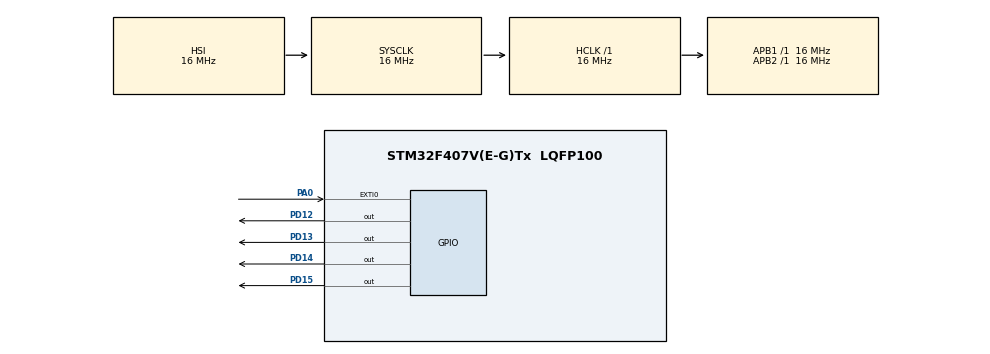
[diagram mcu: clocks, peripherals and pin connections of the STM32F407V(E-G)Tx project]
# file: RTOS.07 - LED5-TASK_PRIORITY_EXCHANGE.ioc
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Mcu.Family=STM32F4
Mcu.Name=STM32F407V(E-G)Tx
Mcu.Package=LQFP100
NVIC.EXTI0_IRQn=true\:6\:0\:true\:false\:true\:true\:true
NVIC.PriorityGroup=NVIC_PRIORITYGROUP_4
NVIC.TIM6_DAC_IRQn=true\:15\:0\:false\:false\:true\:false\:true
NVIC.TimeBase=TIM6_DAC_IRQn
NVIC.TimeBaseIP=TIM6
PA0-WKUP.GPIO_ModeDefaultEXTI=GPIO_MODE_IT_FALLING
PA0-WKUP.Signal=GPXTI0
PD12.Signal=GPIO_Output
PD13.Signal=GPIO_Output
PD14.Signal=GPIO_Output
PD15.Signal=GPIO_Output
ProjectManager.HeapSize=0x200
ProjectManager.StackSize=0x400
ProjectManager.TargetToolchain=STM32CubeIDE
RCC.AHBFreq_Value=16000000
RCC.APB1Freq_Value=16000000
RCC.APB2Freq_Value=16000000
RCC.CortexFreq_Value=16000000
RCC.HSE_VALUE=25000000
RCC.HSI_VALUE=16000000
RCC.LSE_VALUE=32768
RCC.SYSCLKFreq_VALUE=16000000
RCC.VCOOutputFreq_Value=192000000
VP_SYS_VS_tim6.Mode=TIM6
board=custom

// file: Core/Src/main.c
/* USER CODE BEGIN Header */
/**
  ******************************************************************************
  * @file           : main.c
  * @brief          : Main program body
  ******************************************************************************
  * @attention
  *
  * Copyright (c) 2022 STMicroelectronics.
  * All rights reserved.
  *
  * This software is licensed under terms that can be found in the LICENSE file
  * in the root directory of this software component.
  * If no LICENSE file comes with this software, it is provided AS-IS.
  *
  ******************************************************************************
  */
/* USER CODE END Header */
#include "main.h"

/* USER CODE BEGIN Includes */
#include <stdio.h>
#include "FreeRTOS.h"
#include "task.h"
/* USER CODE END Includes */

/* USER CODE BEGIN PV */
#define DWT_CTRL (*(volatile uint32_t*) 0xE0001000)
volatile BaseType_t status_button =0;
/* USER CODE END Includes */

/* Private typedef -----------------------------------------------------------*/
/* USER CODE BEGIN PTD */

/* USER CODE END PTD */

/* Private define ------------------------------------------------------------*/
/* USER CODE BEGIN PD */
/* USER CODE END PD */

/* Private macro -------------------------------------------------------------*/
/* USER CODE BEGIN PM */

/* USER CODE END PM */

/* Private variables ---------------------------------------------------------*/

/* USER CODE BEGIN PV */

/* USER CODE END PV */

void SystemClock_Config(void);
static void MX_GPIO_Init(void);
/* USER CODE BEGIN PFP */
static void task_green_handler(void*  parameters);
static void task_red_handler(void*  parameters);
//static void task_button_handler(void* parameters);
void button_interrupt_handler(void);
//void switch_priority(void);
/* USER CODE END PFP */

/* USER CODE BEGIN 0 */
TaskHandle_t ledg_handle;
TaskHandle_t ledr_handle;
//TaskHandle_t btn_handle;

BaseType_t status;
TaskHandle_t volatile next_task_handle;
/* USER CODE END 0 */

int main(void)
{

  /* MCU Configuration--------------------------------------------------------*/

  /* Reset of all peripherals, Initializes the Flash interface and the Systick. */
  HAL_Init();

  /* Configure the system clock */
  SystemClock_Config();

  /* Initialize all configured peripherals */
  MX_GPIO_Init();
  /* USER CODE BEGIN 2 */
  //cyclic counter
  DWT_CTRL |= (1<<0);

  SEGGER_SYSVIEW_Conf();

  status = xTaskCreate(task_green_handler, "LED_Green", 200, NULL, 1, &ledg_handle);
  configASSERT(status == pdPASS);

  status = xTaskCreate(task_red_handler, "LED_Red", 200, NULL, 2, &ledr_handle);
  configASSERT(status == pdPASS);

//  status = xTaskCreate(task_button_handler, "Button", 200, NULL, 3, &btn_handle);
//  configASSERT(status == pdPASS);

  //start freertos scheduler
  vTaskStartScheduler();
  /* USER CODE END 2 */

  /* Infinite loop */
  while (1)
  {

  }
}

void SystemClock_Config(void)
{
  RCC_OscInitTypeDef RCC_OscInitStruct = {0};
  RCC_ClkInitTypeDef RCC_ClkInitStruct = {0};

  /** Configure the main internal regulator output voltage
  */
  __HAL_RCC_PWR_CLK_ENABLE();
  __HAL_PWR_VOLTAGESCALING_CONFIG(PWR_REGULATOR_VOLTAGE_SCALE1);
  /** Initializes the RCC Oscillators according to the specified parameters
  * in the RCC_OscInitTypeDef structure.
  */
  RCC_OscInitStruct.OscillatorType = RCC_OSCILLATORTYPE_HSI;
  RCC_OscInitStruct.HSIState = RCC_HSI_ON;
  RCC_OscInitStruct.HSICalibrationValue = RCC_HSICALIBRATION_DEFAULT;
  RCC_OscInitStruct.PLL.PLLState = RCC_PLL_NONE;
  if (HAL_RCC_OscConfig(&RCC_OscInitStruct) != HAL_OK)
  {
    Error_Handler();
  }
  /** Initializes the CPU, AHB and APB buses clocks
  */
  RCC_ClkInitStruct.ClockType = RCC_CLOCKTYPE_HCLK|RCC_CLOCKTYPE_SYSCLK
                              |RCC_CLOCKTYPE_PCLK1|RCC_CLOCKTYPE_PCLK2;
  RCC_ClkInitStruct.SYSCLKSource = RCC_SYSCLKSOURCE_HSI;
  RCC_ClkInitStruct.AHBCLKDivider = RCC_SYSCLK_DIV1;
  RCC_ClkInitStruct.APB1CLKDivider = RCC_HCLK_DIV1;
  RCC_ClkInitStruct.APB2CLKDivider = RCC_HCLK_DIV1;

  if (HAL_RCC_ClockConfig(&RCC_ClkInitStruct, FLASH_LATENCY_0) != HAL_OK)
  {
    Error_Handler();
  }
}

static void MX_GPIO_Init(void)
{
  GPIO_InitTypeDef GPIO_InitStruct = {0};

  /* GPIO Ports Clock Enable */
  __HAL_RCC_GPIOD_CLK_ENABLE();

  /*Configure GPIO pin Output Level */
  HAL_GPIO_WritePin(GPIOD, GPIO_PIN_12|GPIO_PIN_13|GPIO_PIN_14|GPIO_PIN_15, GPIO_PIN_RESET);

  /*Configure GPIO pins : PD12 PD13 PD14 PD15 */
  GPIO_InitStruct.Pin = GPIO_PIN_12|GPIO_PIN_13|GPIO_PIN_14|GPIO_PIN_15;
  GPIO_InitStruct.Mode = GPIO_MODE_OUTPUT_PP;
  GPIO_InitStruct.Pull = GPIO_NOPULL;
  GPIO_InitStruct.Speed = GPIO_SPEED_FREQ_LOW;
  HAL_GPIO_Init(GPIOD, &GPIO_InitStruct);

}

/* USER CODE BEGIN 4 */
static void task_green_handler(void* parameters)
{
	while(1)
	{
		SEGGER_SYSVIEW_PrintfTarget("Toggling L G");
		HAL_GPIO_TogglePin(GPIOD, 12);
		HAL_Delay(1000);
		//switch_priority();
	}
}

static void task_red_handler(void* parameters)
{
	while(1)
	{
		SEGGER_SYSVIEW_PrintfTarget("Toggling L R");
		HAL_GPIO_TogglePin(GPIOD, 13);
		HAL_Delay(100);
		//switch_priority()
	}
}

//static void task_button_handler(void* parameters)
//{
//
//	uint8_t btn_read = 0;
//
//	while(1)
//	{
//		btn_read = HAL_GPIO_ReadPin(GPIOA, GPIO_PIN_0);
//
//			if(btn_read)
//			{
//				if (uxTaskPriorityGet(ledg_handle) == 1)
//					{
//					vTaskPrioritySet(ledg_handle, 2);
//					vTaskPrioritySet(ledr_handle, 1);
//					}
//				else
//				{
//					vTaskPrioritySet(ledg_handle, 1);
//					vTaskPrioritySet(ledr_handle, 2);
//				}
//			}
//
//		}
//}

void switch_priority(void)
{
	UBaseType_t p1, p2;
	xTaskHandle t1,t2, curr;
	BaseType_t switch_priority = 0;

	portENTER_CRITICAL();
	if(status_button)
		{
		status_button = 0;
		switch_priority = 1;
		}
	portEXIT_CRITICAL();

	if (switch_priority)
		{
		t1 = xTaskGetHandle("LED_Green");
		t2 = xTaskGetHandle("LED_Red");
		}

	p1 = uxTaskPriorityGet(t1);
	p2 = uxTaskPriorityGet(t2);
	curr = xTaskGetCurrentTaskHandle();

	if(curr == t1)
		{
			vTaskPrioritySet(t1,p2);
			vTaskPrioritySet(t2,p1);
		}
	else
		{
			vTaskPrioritySet(t2,p1);
			vTaskPrioritySet(t1,p2);
		}
}

void button_interrupt_handler(void)
{
	traceISR_ENTER();
	status_button =1;
	traceISR_EXIT();
}

/* USER CODE END 4 */

void HAL_TIM_PeriodElapsedCallback(TIM_HandleTypeDef *htim)
{
  if (htim->Instance == TIM6) {
    HAL_IncTick();
  }
}

void Error_Handler(void)
{
  __disable_irq();
  while (1)
  {
  }
}
